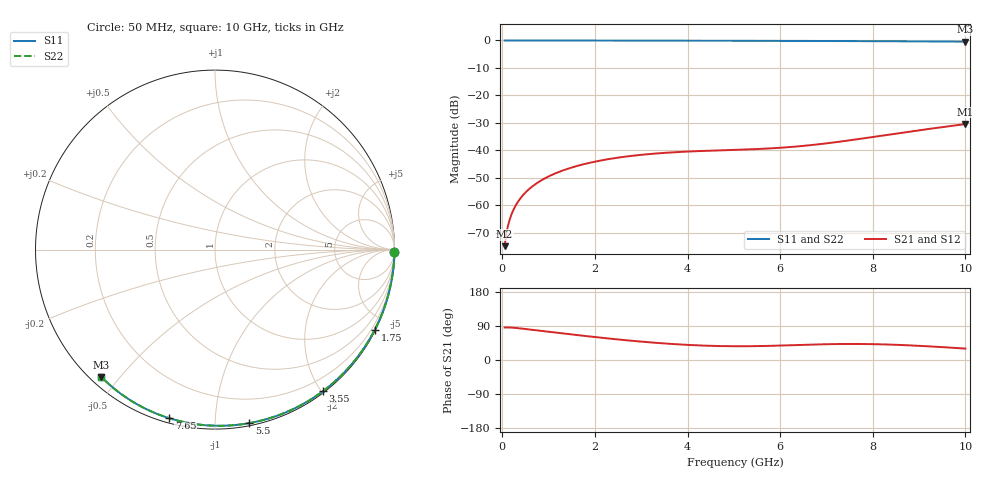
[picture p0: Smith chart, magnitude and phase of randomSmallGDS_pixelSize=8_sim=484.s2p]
! freq	dB(S11)	phase(S11)	dB(S12)	phase(S12)
!  dB(S21)	phase(S21)	dB(S22)	phase(S22)
!S-par simulation data
#  GHz  S  DB  R 50
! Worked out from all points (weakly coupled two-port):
!   200 points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, 50 MHz to 10 GHz, reference 50 ohm
!   highest |S21| = -30.43 dB at 10 GHz (marker M1); lowest = -74.9 dB at 50 MHz (marker M2)
!   lowest |S11| = -0.4 dB at 10 GHz (marker M3), VSWR 39.81, Z = 1.51 - j22.4 ohm
!   |S11| at or under -10 dB: nowhere
!   |S22| runs from -0.4 to 0.0 dB; largest |S21 - S12| = 0
!   S11 on the Smith chart (normalised r, x): 50 MHz: open; 1.75 GHz: 0.04, -4.23; 3.55 GHz: 0.02, -2.02; 5.5 GHz: 0.02, -1.22; 7.65 GHz: 0.02, -0.76; 10 GHz: 0.03, -0.45
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0.05  -0.00 -0.8  -74.85 85.9  -74.85 85.9  -0.00 -0.8
0.1  -0.00 -1.5  -69.11 86.0  -69.11 86.0  -0.00 -1.5
0.15  -0.00 -2.3  -65.67 85.9  -65.67 85.9  -0.00 -2.3
0.2  -0.00 -3.1  -63.21 85.5  -63.21 85.5  -0.00 -3.1
0.25  -0.00 -3.9  -61.29 85.0  -61.29 85.0  -0.00 -3.9
0.35  -0.00 -5.4  -58.40 83.8  -58.40 83.8  -0.00 -5.4
0.5  -0.01 -7.7  -55.33 81.8  -55.33 81.8  -0.01 -7.7
0.7  -0.01 -10.8  -52.47 78.9  -52.47 78.9  -0.01 -10.8
1  -0.02 -15.3  -49.48 74.6  -49.48 74.6  -0.02 -15.3
1.35  -0.03 -20.6  -47.05 69.5  -47.05 69.5  -0.03 -20.6
1.75  -0.03 -26.6  -45.06 63.9  -45.06 63.9  -0.03 -26.6
2.5  -0.05 -37.7  -42.63 54.2  -42.63 54.2  -0.05 -37.7
3.4  -0.07 -50.6  -41.03 44.6  -41.03 44.6  -0.07 -50.6
3.55  -0.07 -52.7  -40.85 43.2  -40.85 43.2  -0.07 -52.7
4.3  -0.09 -63.0  -40.22 38.2  -40.22 38.2  -0.09 -63.0
5.05  -0.11 -73.0  -39.80 36.3  -39.80 36.3  -0.11 -73.0
5.5  -0.13 -78.9  -39.51 36.6  -39.51 36.6  -0.13 -78.9
6.7  -0.18 -93.8  -38.02 40.7  -38.02 40.7  -0.18 -93.8
7.65  -0.23 -105.2  -35.98 42.3  -35.98 42.3  -0.23 -105.2
8.35  -0.28 -113.2  -34.27 40.8  -34.27 40.8  -0.28 -113.2
9.15  -0.35 -122.3  -32.34 36.4  -32.34 36.4  -0.35 -122.3
10  -0.44 -131.7  -30.43 30.1  -30.43 30.1  -0.44 -131.7
